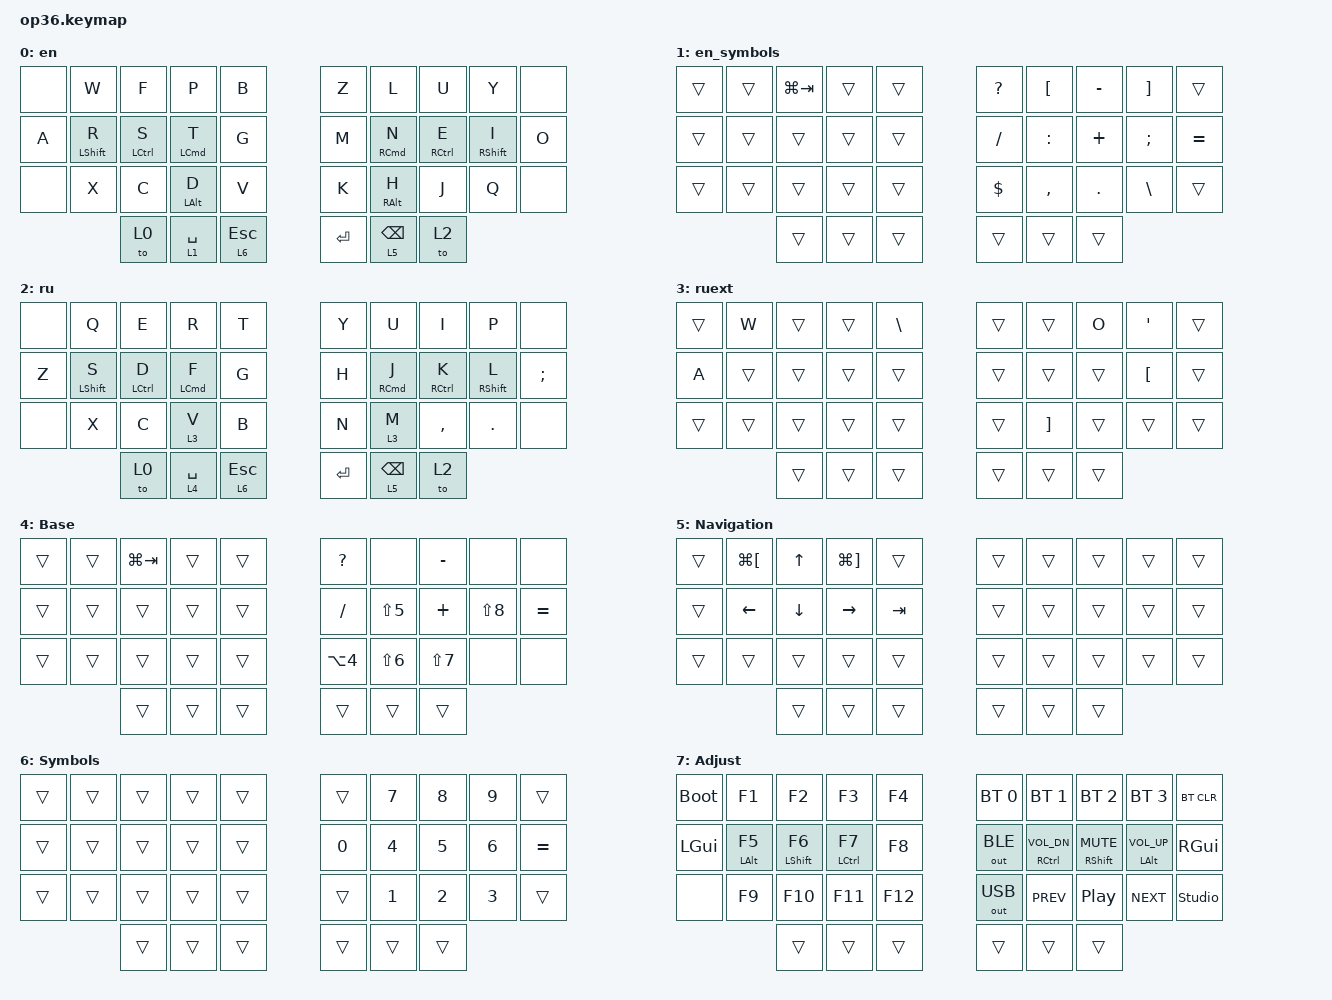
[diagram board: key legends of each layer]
#include "keys_ru.h"
#include <behaviors.dtsi>
#include <dt-bindings/zmk/bt.h>
#include <dt-bindings/zmk/keys.h>
#include <dt-bindings/zmk/outputs.h>

&mt {
    quick-tap-ms = <200>;
    flavor = "tap-preferred";
    require-prior-idle-ms = <125>;
};

/ {
    behaviors {
        hml: home_row_mod_left {
            compatible = "zmk,behavior-hold-tap";
            #binding-cells = <2>;
            flavor = "balanced";
            require-prior-idle-ms = <150>;
            tapping-term-ms = <280>;
            quick-tap-ms = <175>;
            bindings = <&kp>, <&kp>;

            hold-trigger-key-positions = <5 6 7 8 9 15 16 17 18 19 25 26 27 28 29 33 34 35>;
            hold-trigger-on-release;
        };

        hmr: home_row_mod_right {
            compatible = "zmk,behavior-hold-tap";
            #binding-cells = <2>;
            flavor = "balanced";
            require-prior-idle-ms = <150>;
            tapping-term-ms = <280>;
            quick-tap-ms = <175>;
            bindings = <&kp>, <&kp>;

            hold-trigger-key-positions = <0 1 2 3 4 10 11 12 13 14 20 21 22 23 24 30 31 32>;
            hold-trigger-on-release;
        };
    };

    combos {
        compatible = "zmk,combos";

        caps {
            bindings = <&kp CAPSLOCK>;
            key-positions = <31 34>;
        };
    };

    keymap {
        compatible = "zmk,keymap";

        en {
            bindings = <
  &none  &kp W              &kp F                &kp P                &kp B                                   &kp Z            &kp L                 &kp U                 &kp Y               &none
  &kp A  &hml LEFT_SHIFT R  &hml LEFT_CONTROL S  &hml LEFT_COMMAND T  &kp G                                   &kp M            &hmr RIGHT_COMMAND N  &hmr RIGHT_CONTROL E  &hmr RIGHT_SHIFT I  &kp O
  &none  &kp X              &kp C                &hml LEFT_ALT D      &kp V                                   &kp K            &hmr RIGHT_ALT H      &kp J                 &kp Q               &none
                                                 &to 0                &lt 1 SPACE  &lt 6 ESCAPE    &kp ENTER  &lt 5 BACKSPACE  &to 2
            >;
        };

        en_symbols {
            bindings = <
  &trans  &trans  &kp LG(TAB)  &trans  &trans                    &kp QUESTION  &kp LEFT_BRACKET  &kp MINUS  &kp RIGHT_BRACKET  &trans
  &trans  &trans  &trans       &trans  &trans                    &kp FSLH      &kp COLON         &kp PLUS   &kp SEMI           &kp EQUAL
  &trans  &trans  &trans       &trans  &trans                    &kp DOLLAR    &kp COMMA         &kp DOT    &kp BSLH           &trans
                               &trans  &trans  &trans    &trans  &trans        &trans
            >;
        };

        ru {
            bindings = <
  &none  &kp Q              &kp E                &kp R                &kp T                                &kp Y            &kp U                 &kp I                 &kp P               &none
  &kp Z  &hml LEFT_SHIFT S  &hml LEFT_CONTROL D  &hml LEFT_COMMAND F  &kp G                                &kp H            &hmr RIGHT_COMMAND J  &hmr RIGHT_CONTROL K  &hmr RIGHT_SHIFT L  &kp SEMI
  &none  &kp X              &kp C                &lt 3 V              &kp B                                &kp N            &lt 3 M               &kp COMMA             &kp DOT             &none
                                                 &to 0                &lt 4 SPACE  &lt 6 ESC    &kp ENTER  &lt 5 BACKSPACE  &to 2
            >;
        };

        ruext {
            bindings = <
  &trans  &kp W   &trans  &trans  &kp BSLH                    &trans  &trans             &kp O   &kp SINGLE_QUOTE  &trans
  &kp A   &trans  &trans  &trans  &trans                      &trans  &trans             &trans  &kp LEFT_BRACKET  &trans
  &trans  &trans  &trans  &trans  &trans                      &trans  &kp RIGHT_BRACKET  &trans  &trans            &trans
                          &trans  &trans    &trans    &trans  &trans  &trans
            >;
        };

        ru_symbols {
            bindings = <
  &trans  &trans  &kp LG(TAB)  &trans  &trans                    &kp QUESTION      &none             &kp MINUS         &none             &none
  &trans  &trans  &trans       &trans  &trans                    &kp FSLH          &kp LS(NUMBER_5)  &kp PLUS          &kp LS(NUMBER_8)  &kp EQUAL
  &trans  &trans  &trans       &trans  &trans                    &kp LA(NUMBER_4)  &kp LS(NUMBER_6)  &kp LS(NUMBER_7)  &none             &none
                               &trans  &trans  &trans    &trans  &trans            &trans
            >;

            display-name = "Base";
        };

        nav {
            bindings = <
  &trans  &kp LG(LEFT_BRACKET)  &kp UP_ARROW    &kp LG(RIGHT_BRACKET)  &trans                     &trans  &trans  &trans  &trans  &trans
  &trans  &kp LEFT_ARROW        &kp DOWN_ARROW  &kp RIGHT_ARROW        &kp TAB                    &trans  &trans  &trans  &trans  &trans
  &trans  &trans                &trans          &trans                 &trans                     &trans  &trans  &trans  &trans  &trans
                                                &trans                 &trans   &trans    &trans  &trans  &trans
            >;

            display-name = "Navigation";
        };

        numbers {
            bindings = <
  &trans  &trans  &trans  &trans  &trans                    &trans        &kp NUMBER_7  &kp NUMBER_8  &kp NUMBER_9  &trans
  &trans  &trans  &trans  &trans  &trans                    &kp NUMBER_0  &kp NUMBER_4  &kp NUMBER_5  &kp NUMBER_6  &kp EQUAL
  &trans  &trans  &trans  &trans  &trans                    &trans        &kp NUMBER_1  &kp NUMBER_2  &kp NUMBER_3  &trans
                          &trans  &trans  &trans    &trans  &trans        &trans
            >;

            display-name = "Symbols";
        };

        adj {
            bindings = <
  &bootloader  &kp F1        &kp F2         &kp F3         &kp F4                     &bt BT_SEL 0  &bt BT_SEL 1         &bt BT_SEL 2       &bt BT_SEL 3        &bt BT_CLR
  &kp LGUI     &hml LALT F5  &hml LSHFT F6  &hml LCTRL F7  &kp F8                     &out OUT_BLE  &hmr RCTRL C_VOL_DN  &hmr RSHFT C_MUTE  &hmr LALT C_VOL_UP  &kp RGUI
  &none        &kp F9        &kp F10        &kp F11        &kp F12                    &out OUT_USB  &kp C_PREV           &kp C_PP           &kp C_NEXT          &studio_unlock
                                            &trans         &trans   &trans    &trans  &trans        &trans
            >;

            display-name = "Adjust";
        };
    };
};
